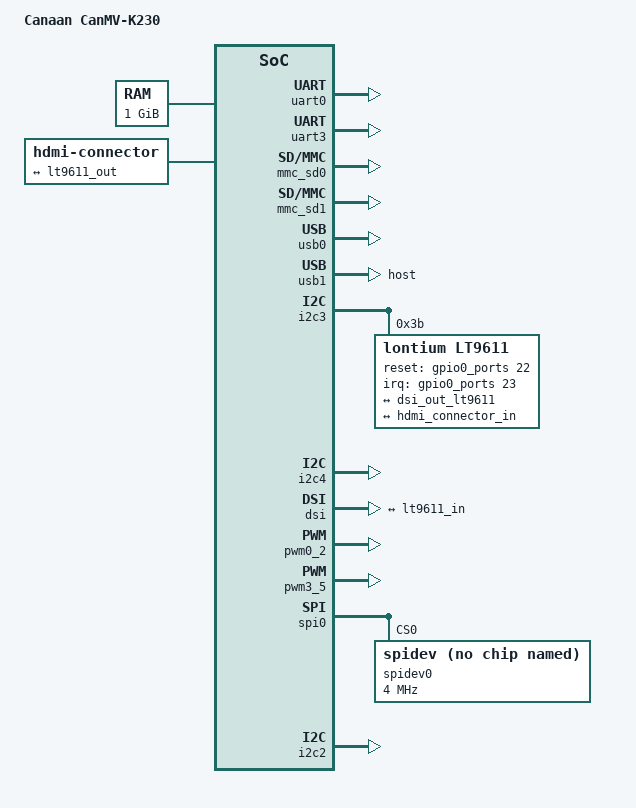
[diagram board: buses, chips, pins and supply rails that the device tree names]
// SPDX-License-Identifier: GPL-2.0 OR MIT
/*
 * Copyright (C) 2024 Yangyu Chen <cyy@cyyself.name>
 */

#include "k230.dtsi"

/ {
	model = "Canaan CanMV-K230";
	compatible = "canaan,canmv-k230", "canaan,kendryte-k230","k230_canmv_01studio";

	aliases {
		serial3 = &uart3;
		i2c0 = &i2c4;
		i2c1 = &i2c3;
		mmc0 = &mmc_sd0;
		mmc1 = &mmc_sd1;
		spi0 = &spi0;
	};

	chosen {
		stdout-path = "serial0:115200n8";
	};

	ddr: memory@0 {
		device_type = "memory";
		reg = <0x0 0x0 0x0 0x40000000>;
	};

	sound {
		status                      = "okay";
		compatible                  = "canaan,k230-audio-inno";
		canaan,model                = "K230_I2S_INNO";
		canaan,k230-i2s-controller  = <&i2s>;
		canaan,k230-audio-codec     = <&inno_codec>;
	};
};

&uart0 {
	status = "okay";
};
&uart3 {
	status = "okay";
};
&mmc_sd0{
	status = "okay";
	no-1-8-v;
	cap-sd-highspeed;
	rx_delay_line = <0x0d>;
	tx_delay_line = <0xb0>;
	clocks = <&sd0_cclk_gate>,<&sd0_cclk_gate>;
	clock-names = "core", "bus";
};
&mmc_sd1{
	status = "okay";
	no-1-8-v;
	cap-sd-highspeed;
	mshc_ctrl_r = <0x00>;
};
&usb0 {
	status = "okay";
};
&usb1 {
	dr_mode = "host";
	status = "okay";
};

&i2c3 {
	status = "okay";

	lt9611: hdmi-bridge@3b {
		compatible = "lontium,lt9611";
		reg = <0x3b>;
		reset-gpios = <&gpio0_ports 22 GPIO_ACTIVE_HIGH>;
		interrupt-parent = <&gpio0_ports>;
		interrupts = <23 IRQ_TYPE_EDGE_FALLING>;
		ports {
			#address-cells  = <1>;
			#size-cells     = <0>;
			port@1 {
				reg = <1>;
				lt9611_in: endpoint {
					remote-endpoint = <&dsi_out_lt9611>;
				};
			};

			port@2 {
				reg = <2>;
				lt9611_out: endpoint {
					remote-endpoint = <&hdmi_connector_in>;
				};
			};
		};
	};
};
&i2c4
{
	status = "okay";
};

&dsi {
	ports {
		port@1 {
			reg = <1>;
			dsi_out_lt9611: endpoint {
				remote-endpoint = <&lt9611_in>;
			};
		};
	};
};

/ {
	hdmi: connector {
		compatible = "hdmi-connector";
		label = "hdmi";
		type = "a";

		port {
			hdmi_connector_in: endpoint {
				remote-endpoint = <&lt9611_out>;
			};
		};
	};
};

&vo {
	vth_line = <10>;
};
&mipi0
{
	// set to csi2
	id = <2>;
	reg = <0x0 0x9000a800 0x0 0x800>;
	interrupts = <121 IRQ_TYPE_LEVEL_HIGH>;
	resets = <&sysctl_reset K230_RESET_CSI2_REG_OFFSET K230_RESET_CSI2_TYPE
			  K230_RESET_CSI2_DONE_BIT K230_RESET_CSI2_ASSERT_BIT>,
	<&sysctl_reset K230_RESET_M2_REG_OFFSET K230_RESET_M2_TYPE
		 K230_RESET_M2_DONE_BIT K230_RESET_M2_ASSERT_BIT>;
	reset-gpios = <&gpio1_ports 30 GPIO_ACTIVE_HIGH>;
};
&iomux {
	pwm2_pins: pwm2_pins {
		pins = K230_IO46; //io46
		function = K230_IO46_PWM2;  // alt2
	};
	pwm3_pins: pwm3_pins {
		pins = K230_IO47; //io47
		function = K230_IO47_PWM3;
	};
	ospi_pins: ospi_pins {
		pin_clk_mo_mi{
			pins = K230_IO15,K230_IO16,K230_IO17;
        	function = "alt1";
		};
		pin_cs{
			pins = K230_IO14;
        	function = "alt1";
			bias-pull-up;
		};
	};
	i2c2_pins: i2c2_pins {
		pins = K230_IO11,K230_IO12;
		function = "alt3";
	};
};
&pwm0_2{
	status = "okay";
	pinctrl-names = "default";
    pinctrl-0 = <&pwm2_pins>;
};
&pwm3_5{
	status = "okay";
	pinctrl-names = "default";
	pinctrl-0 = <&pwm3_pins>;
};
&spi0
{
	status = "okay";
	pinctrl-names = "default";
    pinctrl-0 = <&ospi_pins>;

	spidev0: spidev@0 {
		compatible = "rohm,dh2228fv";
		reg = <0>;
		spi-max-frequency = <4000000>;
		status = "okay";
    };

};

&i2c2{
	status = "okay";
	pinctrl-names = "default";
    pinctrl-0 = <&i2c2_pins>;
};
